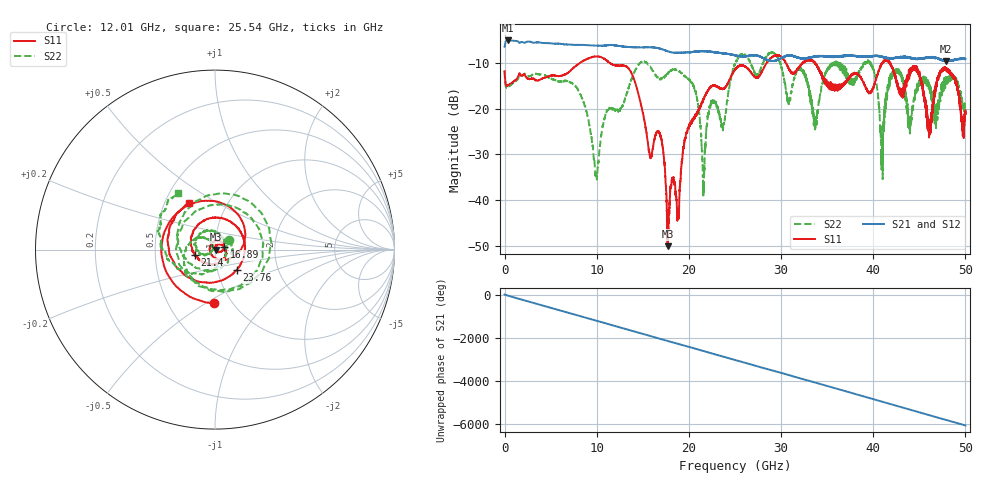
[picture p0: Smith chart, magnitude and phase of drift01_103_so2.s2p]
!Created with skrf (http://scikit-rf.org).
# Hz S RI R 50.0
!freq ReS11 ImS11 ReS21 ImS21 ReS12 ImS12 ReS22 ImS22
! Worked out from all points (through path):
!   10001 points, 300 kHz to 50 GHz, reference 50 ohm
!   highest |S21| = -5.05 dB at 360.3 MHz (marker M1); lowest = -9.6 dB at 47.85 GHz (marker M2)
!   group delay of S21, straight-line fit = 336 ps
!   lowest |S11| = -50.1 dB at 17.69 GHz (marker M3), VSWR 1.01, Z = 50.3 - j0.11 ohm
!   |S11| at or under -10 dB: start of sweep to 8.164 GHz; 11.43 GHz to 28.42 GHz (16.99 GHz wide, 85.3 % of centre); 41.8 GHz to end of sweep (the widest 3 of 9)
!   |S22| runs from -39.0 to -7.6 dB; largest |S21 - S12| = 0.016
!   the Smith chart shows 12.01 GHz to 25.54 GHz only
!   S11 on the Smith chart (normalised r, x): 12.01 GHz: 0.83, -0.54; 16.89 GHz: 1.10, +0.03; 21.4 GHz: 0.80, -0.05; 23.76 GHz: 1.24, -0.29; 25.54 GHz: 0.66, +0.38
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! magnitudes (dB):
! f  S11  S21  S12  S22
! 300 kHz  -11.8  -6.4  -6.5  -11.7
! 360.3 MHz  -14.9  -5.1  -5.1  -15.3
! 8.335 GHz  -9.8  -6.0  -6.0  -17.5
! 9.935 GHz  -8.6  -6.2  -6.2  -34.4
! 12.01 GHz  -10.5  -6.1  -6.2  -20.4
! 16.67 GHz  -24.9  -6.7  -6.7  -13.3
! 16.89 GHz  -25.8  -6.9  -6.8  -13.6
! 17.69 GHz  -50.1  -7.4  -7.4  -12.3
! 20.47 GHz  -22.4  -7.5  -7.5  -15.0
! 21.4 GHz  -18.7  -7.4  -7.4  -29.2
! 22.48 GHz  -15.1  -7.6  -7.6  -18.8
! 23.76 GHz  -15.6  -7.9  -7.9  -23.4
! 25 GHz  -11.4  -8.3  -8.3  -10.3
! 25.54 GHz  -10.5  -8.5  -8.5  -8.4
! 33.34 GHz  -9.4  -8.7  -8.7  -19.3
! 39.49 GHz  -16.4  -8.5  -8.6  -9.9
! 40.95 GHz  -10.2  -8.7  -8.5  -30.0
! 41.67 GHz  -9.6  -8.8  -8.9  -14.7
! 44.72 GHz  -11.8  -9.1  -9.1  -15.8
! 46.1 GHz  -25.7  -8.7  -8.7  -15.0
! 47.85 GHz  -11.5  -9.6  -9.5  -13.3
! 50 GHz  -21.2  -9.1  -9.1  -20.5
